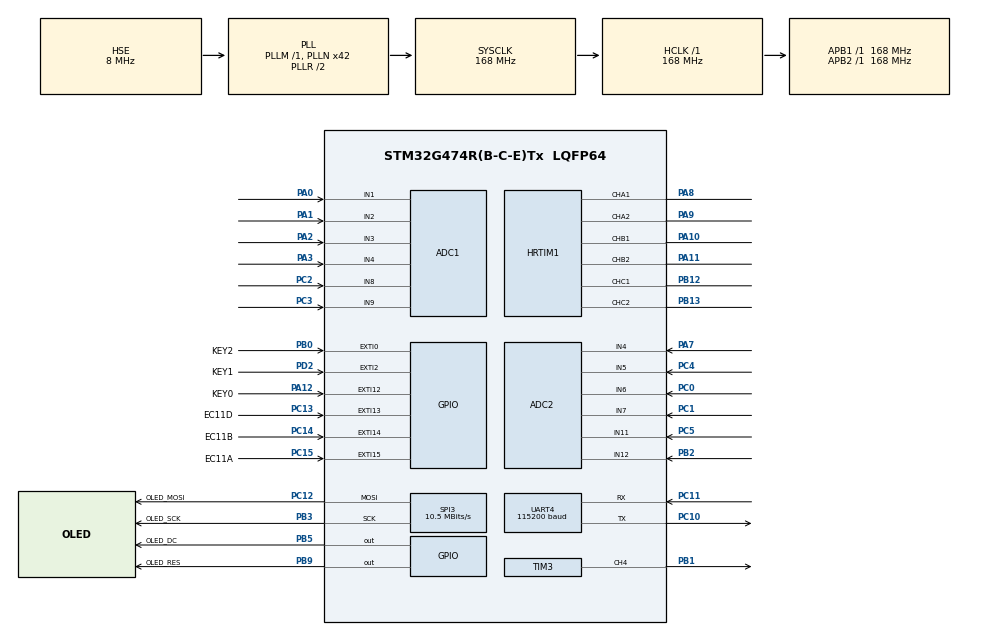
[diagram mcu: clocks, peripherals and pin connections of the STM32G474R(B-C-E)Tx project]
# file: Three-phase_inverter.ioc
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ADC1.Channel-0\#ChannelRegularConversion=ADC_CHANNEL_1
ADC1.Channel-1\#ChannelRegularConversion=ADC_CHANNEL_3
ADC1.Channel-2\#ChannelRegularConversion=ADC_CHANNEL_8
ADC1.ContinuousConvMode=ENABLE
ADC1.DMAContinuousRequests=ENABLE
ADC1.NbrOfConversion=3
ADC1.NbrOfConversionFlag=1
ADC1.OffsetNumber-0\#ChannelRegularConversion=ADC_OFFSET_NONE
ADC1.OffsetNumber-1\#ChannelRegularConversion=ADC_OFFSET_NONE
ADC1.OffsetNumber-2\#ChannelRegularConversion=ADC_OFFSET_NONE
ADC1.Rank-0\#ChannelRegularConversion=1
ADC1.Rank-1\#ChannelRegularConversion=2
ADC1.Rank-2\#ChannelRegularConversion=3
ADC1.SamplingTime-0\#ChannelRegularConversion=ADC_SAMPLETIME_640CYCLES_5
ADC1.SamplingTime-1\#ChannelRegularConversion=ADC_SAMPLETIME_640CYCLES_5
ADC1.SamplingTime-2\#ChannelRegularConversion=ADC_SAMPLETIME_640CYCLES_5
ADC1.SingleDiff-0\#ChannelRegularConversion=ADC_DIFFERENTIAL_ENDED
ADC1.SingleDiff-1\#ChannelRegularConversion=ADC_DIFFERENTIAL_ENDED
ADC1.SingleDiff-2\#ChannelRegularConversion=ADC_DIFFERENTIAL_ENDED
ADC1.master=1
ADC2.Channel-0\#ChannelRegularConversion=ADC_CHANNEL_4
ADC2.Channel-1\#ChannelRegularConversion=ADC_CHANNEL_6
ADC2.Channel-2\#ChannelRegularConversion=ADC_CHANNEL_11
ADC2.ContinuousConvMode=ENABLE
ADC2.DMAContinuousRequests=ENABLE
ADC2.NbrOfConversion=3
ADC2.NbrOfConversionFlag=1
ADC2.OffsetNumber-0\#ChannelRegularConversion=ADC_OFFSET_NONE
ADC2.OffsetNumber-1\#ChannelRegularConversion=ADC_OFFSET_NONE
ADC2.OffsetNumber-2\#ChannelRegularConversion=ADC_OFFSET_NONE
ADC2.Rank-0\#ChannelRegularConversion=1
ADC2.Rank-1\#ChannelRegularConversion=2
ADC2.Rank-2\#ChannelRegularConversion=3
ADC2.SamplingTime-0\#ChannelRegularConversion=ADC_SAMPLETIME_640CYCLES_5
ADC2.SamplingTime-1\#ChannelRegularConversion=ADC_SAMPLETIME_640CYCLES_5
ADC2.SamplingTime-2\#ChannelRegularConversion=ADC_SAMPLETIME_640CYCLES_5
ADC2.SingleDiff-0\#ChannelRegularConversion=ADC_DIFFERENTIAL_ENDED
ADC2.SingleDiff-1\#ChannelRegularConversion=ADC_DIFFERENTIAL_ENDED
ADC2.SingleDiff-2\#ChannelRegularConversion=ADC_DIFFERENTIAL_ENDED
Dma.ADC1.2.Direction=DMA_PERIPH_TO_MEMORY
Dma.ADC1.2.EventEnable=DISABLE
Dma.ADC1.2.Instance=DMA1_Channel3
Dma.ADC1.2.MemDataAlignment=DMA_MDATAALIGN_HALFWORD
Dma.ADC1.2.MemInc=DMA_MINC_ENABLE
Dma.ADC1.2.Mode=DMA_CIRCULAR
Dma.ADC1.2.PeriphDataAlignment=DMA_PDATAALIGN_HALFWORD
Dma.ADC1.2.PeriphInc=DMA_PINC_DISABLE
Dma.ADC1.2.Polarity=HAL_DMAMUX_REQ_GEN_RISING
Dma.ADC1.2.Priority=DMA_PRIORITY_LOW
Dma.ADC1.2.RequestNumber=1
Dma.ADC1.2.SignalID=NONE
Dma.ADC1.2.SyncEnable=DISABLE
Dma.ADC1.2.SyncPolarity=HAL_DMAMUX_SYNC_NO_EVENT
Dma.ADC1.2.SyncRequestNumber=1
Dma.ADC1.2.SyncSignalID=NONE
Dma.ADC2.3.Direction=DMA_PERIPH_TO_MEMORY
Dma.ADC2.3.EventEnable=DISABLE
Dma.ADC2.3.Instance=DMA1_Channel4
Dma.ADC2.3.MemDataAlignment=DMA_MDATAALIGN_HALFWORD
Dma.ADC2.3.MemInc=DMA_MINC_ENABLE
Dma.ADC2.3.Mode=DMA_CIRCULAR
Dma.ADC2.3.PeriphDataAlignment=DMA_PDATAALIGN_HALFWORD
Dma.ADC2.3.PeriphInc=DMA_PINC_DISABLE
Dma.ADC2.3.Polarity=HAL_DMAMUX_REQ_GEN_RISING
Dma.ADC2.3.Priority=DMA_PRIORITY_LOW
Dma.ADC2.3.RequestNumber=1
Dma.ADC2.3.SignalID=NONE
Dma.ADC2.3.SyncEnable=DISABLE
Dma.ADC2.3.SyncPolarity=HAL_DMAMUX_SYNC_NO_EVENT
Dma.ADC2.3.SyncRequestNumber=1
Dma.ADC2.3.SyncSignalID=NONE
Dma.Request0=UART4_TX
Dma.Request1=SPI3_TX
Dma.Request2=ADC1
Dma.Request3=ADC2
Dma.SPI3_TX.1.Direction=DMA_MEMORY_TO_PERIPH
Dma.SPI3_TX.1.EventEnable=DISABLE
Dma.SPI3_TX.1.Instance=DMA1_Channel2
Dma.SPI3_TX.1.MemDataAlignment=DMA_MDATAALIGN_BYTE
Dma.SPI3_TX.1.MemInc=DMA_MINC_ENABLE
Dma.SPI3_TX.1.Mode=DMA_NORMAL
Dma.SPI3_TX.1.PeriphDataAlignment=DMA_PDATAALIGN_BYTE
Dma.SPI3_TX.1.PeriphInc=DMA_PINC_DISABLE
Dma.SPI3_TX.1.Polarity=HAL_DMAMUX_REQ_GEN_RISING
Dma.SPI3_TX.1.Priority=DMA_PRIORITY_LOW
Dma.SPI3_TX.1.RequestNumber=1
Dma.SPI3_TX.1.SignalID=NONE
Dma.SPI3_TX.1.SyncEnable=DISABLE
Dma.SPI3_TX.1.SyncPolarity=HAL_DMAMUX_SYNC_NO_EVENT
Dma.SPI3_TX.1.SyncRequestNumber=1
Dma.SPI3_TX.1.SyncSignalID=NONE
Dma.UART4_TX.0.Direction=DMA_MEMORY_TO_PERIPH
Dma.UART4_TX.0.EventEnable=DISABLE
Dma.UART4_TX.0.Instance=DMA1_Channel1
Dma.UART4_TX.0.MemDataAlignment=DMA_MDATAALIGN_BYTE
Dma.UART4_TX.0.MemInc=DMA_MINC_ENABLE
Dma.UART4_TX.0.Mode=DMA_NORMAL
Dma.UART4_TX.0.PeriphDataAlignment=DMA_PDATAALIGN_BYTE
Dma.UART4_TX.0.PeriphInc=DMA_PINC_DISABLE
Dma.UART4_TX.0.Polarity=HAL_DMAMUX_REQ_GEN_RISING
Dma.UART4_TX.0.Priority=DMA_PRIORITY_LOW
Dma.UART4_TX.0.RequestNumber=1
Dma.UART4_TX.0.SignalID=NONE
Dma.UART4_TX.0.SyncEnable=DISABLE
Dma.UART4_TX.0.SyncPolarity=HAL_DMAMUX_SYNC_NO_EVENT
Dma.UART4_TX.0.SyncRequestNumber=1
Dma.UART4_TX.0.SyncSignalID=NONE
HRTIM1.CompareUnit1-Output_TA1TA2=HRTIM_COMPAREUNIT_1
HRTIM1.CompareUnit1-Output_TB1TB2=HRTIM_COMPAREUNIT_1
HRTIM1.CompareUnit1-Output_TC1TC2=HRTIM_COMPAREUNIT_1
HRTIM1.CompareValue1-Output_TA1TA2=0
HRTIM1.CompareValue1-Output_TB1TB2=0
HRTIM1.CompareValue1-Output_TC1TC2=0
HRTIM1.DeadTimeInsertion-Output_TA1TA2=HRTIM_TIMDEADTIMEINSERTION_ENABLED
HRTIM1.DeadTimeInsertion-Output_TB1TB2=HRTIM_TIMDEADTIMEINSERTION_ENABLED
HRTIM1.DeadTimeInsertion-Output_TC1TC2=HRTIM_TIMDEADTIMEINSERTION_ENABLED
HRTIM1.EnableCalibration=NoDLLCalibration
HRTIM1.FallingLock-Output_TA1TA2=HRTIM_TIMDEADTIME_FALLINGLOCK_READONLY
HRTIM1.FallingLock-Output_TB1TB2=HRTIM_TIMDEADTIME_FALLINGLOCK_READONLY
HRTIM1.FallingLock-Output_TC1TC2=HRTIM_TIMDEADTIME_FALLINGLOCK_READONLY
HRTIM1.FallingSignLock-Output_TA1TA2=HRTIM_TIMDEADTIME_FALLINGSIGNLOCK_READONLY
HRTIM1.FallingSignLock-Output_TB1TB2=HRTIM_TIMDEADTIME_FALLINGSIGNLOCK_READONLY
HRTIM1.FallingSignLock-Output_TC1TC2=HRTIM_TIMDEADTIME_FALLINGSIGNLOCK_READONLY
HRTIM1.FallingValue-Output_TA1TA2=511
HRTIM1.FallingValue-Output_TB1TB2=511
HRTIM1.FallingValue-Output_TC1TC2=511
HRTIM1.GreaterCMP1_TA=HRTIM_TIMERGTCMP1_GREATER
HRTIM1.GreaterCMP1_TB=HRTIM_TIMERGTCMP1_GREATER
HRTIM1.GreaterCMP1_TC=HRTIM_TIMERGTCMP1_GREATER
HRTIM1.NumberResetSource1-Output_TA1TA2=1
HRTIM1.NumberResetSource1-Output_TB1TB2=1
HRTIM1.NumberResetSource1-Output_TC1TC2=1
HRTIM1.NumberSetSource1-Output_TA1TA2=1
HRTIM1.NumberSetSource1-Output_TB1TB2=1
HRTIM1.NumberSetSource1-Output_TC1TC2=1
HRTIM1.Periode_TA=1000
HRTIM1.Periode_TB=1000
HRTIM1.Periode_TC=1000
HRTIM1.PreloadEnable-Output_TA1TA2=HRTIM_PRELOAD_ENABLED
HRTIM1.PreloadEnable-Output_TB1TB2=HRTIM_PRELOAD_ENABLED
HRTIM1.PreloadEnable-Output_TC1TC2=HRTIM_PRELOAD_ENABLED
HRTIM1.PrescalerRatio_TA=HRTIM_PRESCALERRATIO_DIV1
HRTIM1.PrescalerRatio_TB=HRTIM_PRESCALERRATIO_DIV1
HRTIM1.PrescalerRatio_TC=HRTIM_PRESCALERRATIO_DIV1
HRTIM1.RepetitionUpdate-Output_TA1TA2=HRTIM_UPDATEONREPETITION_ENABLED
HRTIM1.RepetitionUpdate-Output_TB1TB2=HRTIM_UPDATEONREPETITION_ENABLED
HRTIM1.RepetitionUpdate-Output_TC1TC2=HRTIM_UPDATEONREPETITION_ENABLED
HRTIM1.ResetOutput1_Source1-Output_TA1TA2=HRTIM_OUTPUTRESET_NONE
HRTIM1.ResetOutput1_Source1-Output_TB1TB2=HRTIM_OUTPUTRESET_NONE
HRTIM1.ResetOutput1_Source1-Output_TC1TC2=HRTIM_OUTPUTRESET_NONE
HRTIM1.RisingLock-Output_TA1TA2=HRTIM_TIMDEADTIME_RISINGLOCK_READONLY
HRTIM1.RisingLock-Output_TB1TB2=HRTIM_TIMDEADTIME_RISINGLOCK_READONLY
HRTIM1.RisingLock-Output_TC1TC2=HRTIM_TIMDEADTIME_RISINGLOCK_READONLY
HRTIM1.RisingSignLock-Output_TA1TA2=HRTIM_TIMDEADTIME_RISINGSIGNLOCK_READONLY
HRTIM1.RisingSignLock-Output_TB1TB2=HRTIM_TIMDEADTIME_RISINGSIGNLOCK_READONLY
HRTIM1.RisingSignLock-Output_TC1TC2=HRTIM_TIMDEADTIME_RISINGSIGNLOCK_READONLY
HRTIM1.RisingValue-Output_TA1TA2=511
HRTIM1.RisingValue-Output_TB1TB2=511
HRTIM1.RisingValue-Output_TC1TC2=511
HRTIM1.SetOutput1_Source1-Output_TA1TA2=HRTIM_OUTPUTSET_TIMCMP1
HRTIM1.SetOutput1_Source1-Output_TB1TB2=HRTIM_OUTPUTSET_TIMCMP1
HRTIM1.SetOutput1_Source1-Output_TC1TC2=HRTIM_OUTPUTSET_TIMCMP1
HRTIM1.UpDownMode-Output_TA1TA2=HRTIM_TIMERUPDOWNMODE_UPDOWN
HRTIM1.UpDownMode-Output_TB1TB2=HRTIM_TIMERUPDOWNMODE_UPDOWN
HRTIM1.UpDownMode-Output_TC1TC2=HRTIM_TIMERUPDOWNMODE_UPDOWN
HRTIM1.rom_TA=HRTIM_TIM_ROM_VALLEY
HRTIM1.rom_TB=HRTIM_TIM_ROM_VALLEY
HRTIM1.rom_TC=HRTIM_TIM_ROM_VALLEY
Mcu.Family=STM32G4
Mcu.Name=STM32G474R(B-C-E)Tx
Mcu.Package=LQFP64
NVIC.ADC1_2_IRQn=true\:2\:0\:true\:false\:true\:true\:true\:true
NVIC.DMA1_Channel1_IRQn=true\:0\:0\:false\:false\:true\:false\:true\:true
NVIC.DMA1_Channel2_IRQn=true\:0\:0\:false\:false\:true\:false\:true\:true
NVIC.DMA1_Channel3_IRQn=true\:0\:0\:false\:false\:true\:false\:true\:true
NVIC.DMA1_Channel4_IRQn=true\:0\:0\:false\:false\:true\:false\:true\:true
NVIC.EXTI0_IRQn=true\:0\:0\:false\:false\:true\:true\:true\:true
NVIC.EXTI15_10_IRQn=true\:0\:0\:true\:false\:true\:true\:true\:true
NVIC.EXTI2_IRQn=true\:0\:0\:false\:false\:true\:true\:true\:true
NVIC.HRTIM1_TIMA_IRQn=true\:0\:0\:false\:false\:true\:true\:true\:true
NVIC.PriorityGroup=NVIC_PRIORITYGROUP_4
NVIC.SPI3_IRQn=true\:3\:0\:true\:false\:true\:true\:true\:true
NVIC.UART4_IRQn=true\:0\:0\:true\:false\:true\:true\:true\:true
PA0.Mode=IN1-Differential
PA0.Signal=ADC1_IN1
PA1.Mode=IN1-Differential
PA1.Signal=ADC1_IN2
PA10.Mode=Output_TB1TB2
PA10.Signal=HRTIM1_CHB1
PA11.Mode=Output_TB1TB2
PA11.Signal=HRTIM1_CHB2
PA12.GPIO_Label=KEY0
PA12.GPIO_ModeDefaultEXTI=GPIO_MODE_IT_FALLING
PA12.GPIO_PuPd=GPIO_PULLUP
PA12.Signal=GPXTI12
PA13.Mode=Serial_Wire
PA13.Signal=SYS_JTMS-SWDIO
PA14.Mode=Serial_Wire
PA14.Signal=SYS_JTCK-SWCLK
PA2.Mode=IN3-Differential
PA2.Signal=ADC1_IN3
PA3.Mode=IN3-Differential
PA3.Signal=ADC1_IN4
PA5.Signal=ADC2_IN13
PA7.Mode=IN4-Differential
PA7.Signal=ADC2_IN4
PA8.Mode=Output_TA1TA2
PA8.Signal=HRTIM1_CHA1
PA9.Mode=Output_TA1TA2
PA9.Signal=HRTIM1_CHA2
PB0.GPIO_Label=KEY2
PB0.GPIO_ModeDefaultEXTI=GPIO_MODE_IT_FALLING
PB0.GPIO_PuPd=GPIO_PULLUP
PB0.Signal=GPXTI0
PB1.Signal=S_TIM3_CH4
PB11.Signal=ADC2_IN14
PB12.Mode=Output_TC1TC2
PB12.Signal=HRTIM1_CHC1
PB13.Mode=Output_TC1TC2
PB13.Signal=HRTIM1_CHC2
PB2.Mode=IN11-Differential
PB2.Signal=ADC2_IN12
PB3.GPIO_Label=OLED_SCK
PB3.Mode=TX_Only_Simplex_Unidirect_Master
PB3.Signal=SPI3_SCK
PB5.GPIO_Label=OLED_DC
PB5.GPIO_Speed=GPIO_SPEED_FREQ_MEDIUM
PB5.Signal=GPIO_Output
PB9.GPIO_Label=OLED_RES
PB9.GPIO_Speed=GPIO_SPEED_FREQ_MEDIUM
PB9.Signal=GPIO_Output
PC0.Mode=IN6-Differential
PC0.Signal=ADC2_IN6
PC1.Mode=IN6-Differential
PC1.Signal=ADC2_IN7
PC10.Mode=Asynchronous
PC10.Signal=UART4_TX
PC11.Mode=Asynchronous
PC11.Signal=UART4_RX
PC12.GPIO_Label=OLED_MOSI
PC12.Mode=TX_Only_Simplex_Unidirect_Master
PC12.Signal=SPI3_MOSI
PC13.GPIO_Label=EC11D
PC13.GPIO_ModeDefaultEXTI=GPIO_MODE_IT_FALLING
PC13.GPIO_PuPd=GPIO_PULLUP
PC13.Signal=GPXTI13
PC14-OSC32_IN.GPIO_Label=EC11B
PC14-OSC32_IN.GPIO_ModeDefaultEXTI=GPIO_MODE_IT_FALLING
PC14-OSC32_IN.GPIO_PuPd=GPIO_PULLUP
PC14-OSC32_IN.Signal=GPXTI14
PC15-OSC32_OUT.GPIO_Label=EC11A
PC15-OSC32_OUT.GPIO_ModeDefaultEXTI=GPIO_MODE_IT_FALLING
PC15-OSC32_OUT.GPIO_PuPd=GPIO_PULLUP
PC15-OSC32_OUT.Signal=GPXTI15
PC2.Mode=IN8-Differential
PC2.Signal=ADC1_IN8
PC3.Mode=IN8-Differential
PC3.Signal=ADC1_IN9
PC4.Mode=IN4-Differential
PC4.Signal=ADC2_IN5
PC5.Mode=IN11-Differential
PC5.Signal=ADC2_IN11
PD2.GPIO_Label=KEY1
PD2.GPIO_ModeDefaultEXTI=GPIO_MODE_IT_FALLING
PD2.GPIO_PuPd=GPIO_PULLUP
PD2.Signal=GPXTI2
PF0-OSC_IN.Mode=HSE-External-Oscillator
PF0-OSC_IN.Signal=RCC_OSC_IN
PF1-OSC_OUT.Mode=HSE-External-Oscillator
PF1-OSC_OUT.Signal=RCC_OSC_OUT
ProjectManager.HeapSize=0x200
ProjectManager.StackSize=0x400
ProjectManager.TargetToolchain=CMake
RCC.ADC12Freq_Value=168000000
RCC.ADC345Freq_Value=168000000
RCC.AHBFreq_Value=168000000
RCC.APB1Freq_Value=168000000
RCC.APB1TimFreq_Value=168000000
RCC.APB2Freq_Value=168000000
RCC.APB2TimFreq_Value=168000000
RCC.CortexFreq_Value=168000000
RCC.EXTERNAL_CLOCK_VALUE=12288000
RCC.HCLKFreq_Value=168000000
RCC.HSE_VALUE=8000000
RCC.HSI48_VALUE=48000000
RCC.HSI_VALUE=16000000
RCC.LSE_VALUE=32768
RCC.PLLN=42
RCC.PLLSourceVirtual=RCC_PLLSOURCE_HSE
RCC.SYSCLKFreq_VALUE=168000000
RCC.SYSCLKSource=RCC_SYSCLKSOURCE_PLLCLK
RCC.USBFreq_Value=168000000
RCC.VCOOutputFreq_Value=336000000
SH.S_TIM3_CH4.0=TIM3_CH4,PWM Generation4 CH4
SPI3.BaudRatePrescaler=SPI_BAUDRATEPRESCALER_16
SPI3.CalculateBaudRate=10.5 MBits/s
SPI3.DataSize=SPI_DATASIZE_8BIT
SPI3.Direction=SPI_DIRECTION_2LINES
SPI3.Mode=SPI_MODE_MASTER
SPI3.NSSPMode=SPI_NSS_PULSE_DISABLE
SPI3.VirtualType=VM_MASTER
STMicroelectronics.X-CUBE-ALGOBUILD.1.5.0.LibraryCcDSPOoLibraryJjDSPOoLibrary=true
TIM3.AutoReloadPreload=TIM_AUTORELOAD_PRELOAD_ENABLE
TIM3.Channel-PWM\ Generation4\ CH4=TIM_CHANNEL_4
TIM3.PeriodNoDither=50000
TIM3.Prescaler=1
TIM3.PulseNoDither_4=2500
UART4.BaudRate=115200
VP_STMicroelectronics.X-CUBE-ALGOBUILD_VS_DSPOoLibraryJjLibrary_1.5.0_1.5.0.Mode=DSPOoLibraryJjLibrary
VP_SYS_VS_DBSignals.Mode=DisableDeadBatterySignals
VP_TIM3_VS_ClockSourceINT.Mode=Internal
VREF+.Mode=InternalMode
VREF+.Signal=VREFBUF_OUT
board=custom

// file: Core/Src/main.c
/* USER CODE BEGIN Header */
/**
  ******************************************************************************
  * @file           : main.c
  * @brief          : Main program body
  ******************************************************************************
  * @attention
  *
  * Copyright (c) 2026 STMicroelectronics.
  * All rights reserved.
  *
  * This software is licensed under terms that can be found in the LICENSE file
  * in the root directory of this software component.
  * If no LICENSE file comes with this software, it is provided AS-IS.
  *
  ******************************************************************************
  */
/* USER CODE END Header */
#include "main.h"
#include "adc.h"
#include "dma.h"
#include "hrtim.h"
#include "spi.h"
#include "tim.h"
#include "usart.h"
#include "gpio.h"

/* USER CODE BEGIN Includes */
#include "OLED.h"
#include "My_OLED.h"
#include "arm_math.h"
/* USER CODE END Includes */

/* USER CODE BEGIN PV */

const float calc_phy_conv_voltage_0001=0.300f;
const float calc_phy_conv_current_0001=0.01015f;
const float calc_phy_conv_voltage_offset_0001=613.5f;
const float calc_phy_conv_current_offset_0001=20.75675f;
const float calc_phy_conv_voltage_0002=0.3035f;
const float calc_phy_conv_current_0002=0.0101f;
const float calc_phy_conv_voltage_offset_0002=620.6575f;
const float calc_phy_conv_current_offset_0002=20.6545f;
const float calc_phy_conv_voltage_0003=0.290f;
const float calc_phy_conv_current_0003=0.01020f;
const float calc_phy_conv_voltage_offset_0003=593.05f;
const float calc_phy_conv_current_offset_0003=20.859f;
const float calc_phy_conv_voltage_0004=0.297f;
const float calc_phy_conv_current_0004=0.01010f;
const float calc_phy_conv_voltage_offset_0004=607.365f;
const float calc_phy_conv_current_offset_0004=20.6545f;
const float calc_phy_conv_voltage_0005=0.3035f;
const float calc_phy_conv_current_0005=0.0100f;
const float calc_phy_conv_voltage_offset_0005=620.6575f;
const float calc_phy_conv_current_offset_0005=20.45f;

const float phy_calc_conv_offset=2045;

float hzc=5.0f;
float frequency=60.0f;
float num=200;
float fhrtim=160000000;
float div=7;

enum EC_DeBug now_EC_DeBug=vm_;

SV S={0};
QPR QPR1={0},QPR2={0};
SVPWM SVPWM1={0};

uint16_t ADC1_value[3],ADC2_value[3];

float va_setpoint,vb_setpoint;
float va_measurement,vb_measurement,vc_measurement;
float vdc_measurement;
float a,b,c,d,f;//中间值
float va_setpoint_data[200];
float vb_setpoint_data[200];
float den;

uint8_t TX_buffer[50];

// 根据你的需求定义最大可发送浮点数个数
#define VOFA_TX_MAX_FLOATS     (64u)

// JustFloat 协议的帧尾，固定为 0x7F800000 (表示 +Inf)[reference:8]
static const uint32_t vofa_tail = 0x7F800000u;

// 发送缓冲区：数据区 + 帧尾
static uint8_t vofa_tx_buf[VOFA_TX_MAX_FLOATS * 4 + 4];

/* USER CODE END PV */

void SystemClock_Config(void);

int main(void)
{

  /* MCU Configuration--------------------------------------------------------*/

  /* Reset of all peripherals, Initializes the Flash interface and the Systick. */
  HAL_Init();

  /* Configure the system clock */
  SystemClock_Config();

  /* Initialize all configured peripherals */
  MX_GPIO_Init();
  MX_DMA_Init();
  MX_UART4_Init();
  MX_SPI3_Init();
  MX_ADC1_Init();
  MX_ADC2_Init();
  MX_HRTIM1_Init();
  MX_TIM3_Init();
  /* USER CODE BEGIN 2 */
  HAL_TIM_Base_Start(&htim3);
  HAL_TIM_PWM_Start(&htim3,TIM_CHANNEL_4);

  OLED_Init();

  SV_init(&S,26.12789f,frequency,num);
  QPR_Init(&QPR1,2*PI*hzc,frequency,num);
  QPR_Init(&QPR2,2*PI*hzc,frequency,num);
  QPR1.kp=0.3f,QPR1.kr=20.0f;
  QPR2.kp=0.3f,QPR2.kr=20.0f;
  SVPWM_init(&SVPWM1,60.0f,frequency,num,div,fhrtim);

  HAL_ADCEx_Calibration_Start(&hadc1,ADC_DIFFERENTIAL_ENDED);
  HAL_ADC_Start_DMA(&hadc1,(uint32_t*)ADC1_value,sizeof(ADC1_value)/sizeof(uint16_t));
  HAL_ADCEx_Calibration_Start(&hadc2,ADC_DIFFERENTIAL_ENDED);
  HAL_ADC_Start_DMA(&hadc2,(uint32_t*)ADC2_value,sizeof(ADC2_value)/sizeof(uint16_t));

  three_phase_inverter_interface_head();

  HAL_HRTIM_WaveformCountStart(&hhrtim1, HRTIM_TIMERID_TIMER_A);
  HAL_HRTIM_WaveformCountStart(&hhrtim1, HRTIM_TIMERID_TIMER_B);
  HAL_HRTIM_WaveformCountStart(&hhrtim1, HRTIM_TIMERID_TIMER_C);

  HAL_HRTIM_WaveformOutputStart(&hhrtim1, HRTIM_OUTPUT_TA1|HRTIM_OUTPUT_TA2);//开启通道输出
  HAL_HRTIM_WaveformOutputStart(&hhrtim1, HRTIM_OUTPUT_TB1|HRTIM_OUTPUT_TB2);//开启通道输出
  HAL_HRTIM_WaveformOutputStart(&hhrtim1, HRTIM_OUTPUT_TC1|HRTIM_OUTPUT_TC2);//开启通道输出

  get_va_setpoint_data(va_setpoint_data,num);
  get_vb_setpoint_data(vb_setpoint_data,num);

  __HAL_HRTIM_TIMER_ENABLE_IT(&hhrtim1,HRTIM_TIMERINDEX_TIMER_A,HRTIM_TIM_IT_UPD);//开启更新中断,开启QPR

  DeBug_interface_head();

  HAL_TIM_PWM_Stop(&htim3,TIM_CHANNEL_4);
  HAL_TIM_Base_Stop(&htim3);
  /* USER CODE END 2 */

  /* Infinite loop */
  /* USER CODE BEGIN WHILE */
  while (1)
  {
    vc_measurement=ADC1_value[1]*calc_phy_conv_voltage_0003-calc_phy_conv_voltage_offset_0003;
    vdc_measurement=ADC2_value[1]*calc_phy_conv_voltage_0004-calc_phy_conv_voltage_offset_0004;

    three_phase_inverter_interface_main();
    DeBug_interface_main();

   // VOFA_SendFloatDMA(&huart4,(float[]){va_setpoint,vb_setpoint},2);
    /* USER CODE END WHILE */

  }
}

void SystemClock_Config(void)
{
  RCC_OscInitTypeDef RCC_OscInitStruct = {0};
  RCC_ClkInitTypeDef RCC_ClkInitStruct = {0};

  /** Configure the main internal regulator output voltage
  */
  HAL_PWREx_ControlVoltageScaling(PWR_REGULATOR_VOLTAGE_SCALE1_BOOST);

  /** Initializes the RCC Oscillators according to the specified parameters
  * in the RCC_OscInitTypeDef structure.
  */
  RCC_OscInitStruct.OscillatorType = RCC_OSCILLATORTYPE_HSE;
  RCC_OscInitStruct.HSEState = RCC_HSE_ON;
  RCC_OscInitStruct.PLL.PLLState = RCC_PLL_ON;
  RCC_OscInitStruct.PLL.PLLSource = RCC_PLLSOURCE_HSE;
  RCC_OscInitStruct.PLL.PLLM = RCC_PLLM_DIV1;
  RCC_OscInitStruct.PLL.PLLN = 42;
  RCC_OscInitStruct.PLL.PLLP = RCC_PLLP_DIV2;
  RCC_OscInitStruct.PLL.PLLQ = RCC_PLLQ_DIV2;
  RCC_OscInitStruct.PLL.PLLR = RCC_PLLR_DIV2;
  if (HAL_RCC_OscConfig(&RCC_OscInitStruct) != HAL_OK)
  {
    Error_Handler();
  }

  /** Initializes the CPU, AHB and APB buses clocks
  */
  RCC_ClkInitStruct.ClockType = RCC_CLOCKTYPE_HCLK|RCC_CLOCKTYPE_SYSCLK
                              |RCC_CLOCKTYPE_PCLK1|RCC_CLOCKTYPE_PCLK2;
  RCC_ClkInitStruct.SYSCLKSource = RCC_SYSCLKSOURCE_PLLCLK;
  RCC_ClkInitStruct.AHBCLKDivider = RCC_SYSCLK_DIV1;
  RCC_ClkInitStruct.APB1CLKDivider = RCC_HCLK_DIV1;
  RCC_ClkInitStruct.APB2CLKDivider = RCC_HCLK_DIV1;

  if (HAL_RCC_ClockConfig(&RCC_ClkInitStruct, FLASH_LATENCY_4) != HAL_OK)
  {
    Error_Handler();
  }
}

/* USER CODE BEGIN 4 */
inline void QPR_Init(QPR *QPR,float wc,float frequency,float num) {
  QPR->wc=wc;
  QPR->t_control=1.0f/frequency/num;
  QPR->w0=2.0*PI*frequency;
  QPR->k=2.0f/QPR->t_control;

   // QPR->w0 = QPR->k * tanf(QPR->w0 * QPR->t / 2.0f);   // 用畸变后的值参与系数计算
   // QPR->wc = QPR->k * tanf(QPR->wc * QPR->t / 2.0f);

  float A0=QPR->k*QPR->k+2.0f*QPR->wc*QPR->k+QPR->w0*QPR->w0;
  QPR->a1=2.0f*(QPR->w0*QPR->w0-QPR->k*QPR->k)/A0;
  QPR->a2=(QPR->k*QPR->k-2.0f*QPR->wc*QPR->k+QPR->w0*QPR->w0)/A0;
  QPR->b0=2.0f*QPR->k*QPR->wc/A0;
  QPR->b2=-QPR->b0;

  QPR->e1=0;
  QPR->e2=0;
  QPR->y0=0;
  QPR->y1=0;
  QPR->y2=0;
  QPR->u0=0;
  QPR->u1=0;
  QPR->q0=0;
  QPR->q1=0;
}

float QPR_Compute(QPR *QPR,float e0) {
  QPR->y0=QPR->b0*e0+QPR->b2*QPR->e2-QPR->a1*QPR->y1-QPR->a2*QPR->y2;
  QPR->u0=QPR->kp*e0+QPR->kr*QPR->y0;

  QPR->e2=QPR->e1;
  QPR->e1=e0;
  QPR->y2=QPR->y1;
  QPR->y1=QPR->y0;

  return QPR->u0;
}
void QPR_QSG_Compute(QPR *QPR,float e0) {
  QPR->y0=QPR->b0*(e0-QPR->e2)-QPR->a1*QPR->y1-QPR->a2*QPR->y2;
  QPR->u0=QPR->kp*e0+QPR->kr*QPR->y0;
  QPR->q0=QPR->q1+(QPR->u0+QPR->u1)*0.5f*QPR->w0*QPR->t_control;

  QPR->e2=QPR->e1;
  QPR->e1=e0;
  QPR->y2=QPR->y1;
  QPR->y1=QPR->y0;
  QPR->u1=QPR->u0;
  QPR->q1=QPR->q0;
}
float P_Compute(float p,float e0) {
  return (p*e0);
}

void SV_init(SV *S,float vm,float frequency,float num) {
  S->theta=0;
  S->vm=vm;
  S->t_control=1.0f/frequency/num;
  S->wout=2.0*PI*frequency;
}
int32_t rad_to_q31(float rad) {
  float norm_rad=rad/PI;

  int32_t result=(int32_t)(norm_rad*0x80000000);
  return result;
}
float sin_cos_q31_to_float(int32_t sin_cos_q31_value) {
  return (float)sin_cos_q31_value / 2147483648.0f;
}
// void phy_conv_calc(void) {
//   calc_va_setpoint=va_setpoint*phy_calc_conv_voltage_0001+phy_calc_conv_offset;
//   calc_vb_setpoint=vb_setpoint*phy_calc_conv_voltage_0002+phy_calc_conv_offset;
// }
void calc_conv_phy(void) {
  va_measurement=ADC1_value[0]*calc_phy_conv_voltage_0001-calc_phy_conv_voltage_offset_0001;
  vb_measurement=ADC2_value[0]*calc_phy_conv_voltage_0002-calc_phy_conv_voltage_offset_0002;

}
void SVPWM_init(SVPWM *SVPWM,float vdc,float frequency,float num,float div,float fhrtim) {
  SVPWM->vdc=vdc;
  SVPWM->Ts=1.0f/frequency/num/div;
  SVPWM->arr=fhrtim/2.0f/div/frequency/num;
  SVPWM->mid=SVPWM->Ts/SVPWM->vdc;
}
void Midvalue_Compute(float va_control,float vb_control) {
  a=va_control+2.0f*vb_control;
  b=va_control-vb_control;
  c=2.0f*va_control+vb_control;
  d=-va_control+vb_control;
}
void harmonic_insert(SVPWM *svpwm) {
  float min1,min2,max1,max2,sum;
  a = (svpwm->A_Phase + 1.0f) * 0.5f;
  b = (svpwm->B_Phase + 1.0f) * 0.5f;
  c = (svpwm->C_Phase + 1.0f) * 0.5f;
  max1 =  fmaxf(a,b);
  max2 =  fmaxf(max1,c);
  min1 =  fminf(a,b);
  min2 =  fminf(min1,c);
  sum  = (1.0f - max2 - min2) * 0.5f;
  svpwm->Vta = sum + a;
  svpwm->Vtb = sum + b;
  svpwm->Vtc = sum + c;
}
uint8_t Sector_Judgment(void) {
  uint8_t N=0;
  if (a>0){N+=1;}
  if (b>0){N+=2;}
  if (c<0){N+=4;}

  switch (N) {
    case 3:
      return 1;
    case 1:
      return 2;
    case 5:
      return 3;
    case 4:
      return 4;
    case 6:
      return 5;
    case 2:
      return 6;
  }
}
void vector_actiontime(SVPWM *SVPWM,uint8_t sector) {
  switch (sector) {
    case 1:
      SVPWM->T1=SVPWM->mid*b;
      SVPWM->T2=SVPWM->mid*a;
      break;
    case 2:
      SVPWM->T1=SVPWM->mid*d;
      SVPWM->T2=SVPWM->mid*c;
      break;
    case 3:
      SVPWM->T1=SVPWM->mid*a;
      SVPWM->T2=SVPWM->mid*(-c);
      break;
    case 4:
      SVPWM->T1=SVPWM->mid*(-a);
      SVPWM->T2=SVPWM->mid*d;
      break;
    case 5:
      SVPWM->T1=SVPWM->mid*(-c);
      SVPWM->T2=SVPWM->mid*b;
      break;
    case 6:
      SVPWM->T1=SVPWM->mid*c;
      SVPWM->T2=SVPWM->mid*(-a);
      break;
  }
  if ((SVPWM->T1+SVPWM->T2)>SVPWM->Ts) {
    SVPWM->T1=SVPWM->T1/(SVPWM->T1+SVPWM->T2)*SVPWM->Ts;
    SVPWM->T2=SVPWM->Ts-SVPWM->T1;
  }
  SVPWM->T0=SVPWM->Ts-SVPWM->T1-SVPWM->T2;
}
void frequency_conv(float fhrtim,float frequency,float div,float num) {
  HRTIM1->sTimerxRegs[HRTIM_TIMERINDEX_TIMER_A].PERxR = fhrtim/2.0f/div/frequency/num;
  HRTIM1->sTimerxRegs[HRTIM_TIMERINDEX_TIMER_B].PERxR = fhrtim/2.0f/div/frequency/num;
  HRTIM1->sTimerxRegs[HRTIM_TIMERINDEX_TIMER_C].PERxR = fhrtim/2.0f/div/frequency/num;
}
void vector_action(SVPWM *SVPWM,uint8_t sector) {
  switch (sector) {
    case 1:
      HRTIM1->sTimerxRegs[HRTIM_TIMERINDEX_TIMER_A].CMP1xR=SVPWM->T0*0.25f/SVPWM->Ts*SVPWM->arr;
      HRTIM1->sTimerxRegs[HRTIM_TIMERINDEX_TIMER_B].CMP1xR=HRTIM1->sTimerxRegs[HRTIM_TIMERINDEX_TIMER_A].CMP1xR+SVPWM->T1*0.5f/SVPWM->Ts*SVPWM->arr;
      HRTIM1->sTimerxRegs[HRTIM_TIMERINDEX_TIMER_C].CMP1xR=HRTIM1->sTimerxRegs[HRTIM_TIMERINDEX_TIMER_B].CMP1xR+SVPWM->T2*0.5f/SVPWM->Ts*SVPWM->arr+1;
      break;
    case 2:
      HRTIM1->sTimerxRegs[HRTIM_TIMERINDEX_TIMER_B].CMP1xR=SVPWM->T0*0.25f/SVPWM->Ts*SVPWM->arr;
      HRTIM1->sTimerxRegs[HRTIM_TIMERINDEX_TIMER_A].CMP1xR=HRTIM1->sTimerxRegs[HRTIM_TIMERINDEX_TIMER_B].CMP1xR+SVPWM->T1*0.5f/SVPWM->Ts*SVPWM->arr;
      HRTIM1->sTimerxRegs[HRTIM_TIMERINDEX_TIMER_C].CMP1xR=HRTIM1->sTimerxRegs[HRTIM_TIMERINDEX_TIMER_A].CMP1xR+SVPWM->T2*0.5f/SVPWM->Ts*SVPWM->arr+1;
      break;
    case 3:
      HRTIM1->sTimerxRegs[HRTIM_TIMERINDEX_TIMER_B].CMP1xR=SVPWM->T0*0.25f/SVPWM->Ts*SVPWM->arr;
      HRTIM1->sTimerxRegs[HRTIM_TIMERINDEX_TIMER_C].CMP1xR=HRTIM1->sTimerxRegs[HRTIM_TIMERINDEX_TIMER_B].CMP1xR+SVPWM->T1*0.5f/SVPWM->Ts*SVPWM->arr;
      HRTIM1->sTimerxRegs[HRTIM_TIMERINDEX_TIMER_A].CMP1xR=HRTIM1->sTimerxRegs[HRTIM_TIMERINDEX_TIMER_C].CMP1xR+SVPWM->T2*0.5f/SVPWM->Ts*SVPWM->arr+1;
      break;
    case 4:
      HRTIM1->sTimerxRegs[HRTIM_TIMERINDEX_TIMER_C].CMP1xR=SVPWM->T0*0.25f/SVPWM->Ts*SVPWM->arr;
      HRTIM1->sTimerxRegs[HRTIM_TIMERINDEX_TIMER_B].CMP1xR=HRTIM1->sTimerxRegs[HRTIM_TIMERINDEX_TIMER_C].CMP1xR+SVPWM->T1*0.5f/SVPWM->Ts*SVPWM->arr;
      HRTIM1->sTimerxRegs[HRTIM_TIMERINDEX_TIMER_A].CMP1xR=HRTIM1->sTimerxRegs[HRTIM_TIMERINDEX_TIMER_B].CMP1xR+SVPWM->T2*0.5f/SVPWM->Ts*SVPWM->arr+1;
      break;
    case 5:
      HRTIM1->sTimerxRegs[HRTIM_TIMERINDEX_TIMER_C].CMP1xR=SVPWM->T0*0.25f/SVPWM->Ts*SVPWM->arr;
      HRTIM1->sTimerxRegs[HRTIM_TIMERINDEX_TIMER_A].CMP1xR=HRTIM1->sTimerxRegs[HRTIM_TIMERINDEX_TIMER_C].CMP1xR+SVPWM->T1*0.5f/SVPWM->Ts*SVPWM->arr;
      HRTIM1->sTimerxRegs[HRTIM_TIMERINDEX_TIMER_B].CMP1xR=HRTIM1->sTimerxRegs[HRTIM_TIMERINDEX_TIMER_A].CMP1xR+SVPWM->T2*0.5f/SVPWM->Ts*SVPWM->arr+1;
      break;
    case 6:
      HRTIM1->sTimerxRegs[HRTIM_TIMERINDEX_TIMER_A].CMP1xR=SVPWM->T0*0.25f/SVPWM->Ts*SVPWM->arr;
      HRTIM1->sTimerxRegs[HRTIM_TIMERINDEX_TIMER_C].CMP1xR=HRTIM1->sTimerxRegs[HRTIM_TIMERINDEX_TIMER_A].CMP1xR+SVPWM->T1*0.5f/SVPWM->Ts*SVPWM->arr;
      HRTIM1->sTimerxRegs[HRTIM_TIMERINDEX_TIMER_B].CMP1xR=HRTIM1->sTimerxRegs[HRTIM_TIMERINDEX_TIMER_C].CMP1xR+SVPWM->T2*0.5f/SVPWM->Ts*SVPWM->arr+1;
      break;
  }
}
void VOFA_SendFloatDMA(UART_HandleTypeDef *huart, float *data, uint16_t num)
{
  // 1. 安全检查：如果上一次 DMA 传输还没完成，直接返回，避免冲突
  if (huart->gState != HAL_UART_STATE_READY) {
    return;
  }

  // 2. 防止数据溢出
  if (num > VOFA_TX_MAX_FLOATS) {
    num = VOFA_TX_MAX_FLOATS;
  }

  // 3. 计算数据部分的字节数
  uint16_t bytes_data = num * sizeof(float); // sizeof(float) 通常为 4

  // 4. 将浮点数据拷贝到发送缓冲区
  memcpy(vofa_tx_buf, data, bytes_data);

  // 5. 在数据后面追加 4 字节的帧尾
  memcpy(vofa_tx_buf + bytes_data, &vofa_tail, sizeof(vofa_tail));

  // 6. 启动 DMA 发送：发送 (数据 + 帧尾)
  HAL_UART_Transmit_DMA(huart, vofa_tx_buf, bytes_data + sizeof(vofa_tail));
}

void get_va_setpoint_data(float data[],int num) {
  for (int i=0;i<num;i++) {
    data[i] = S.vm*cos(2*i*PI/num);
  }
}
void get_vb_setpoint_data(float data[],int num) {
  for (int i=0;i<num;i++) {
    data[i] =S.vm*cos(2*i*PI/num-2.0/3.0*PI);
  }
}
void HAL_HRTIM_RegistersUpdateCallback(HRTIM_HandleTypeDef *hhrtim,uint32_t TimerIdx) {
  static uint8_t count = 0;
  static uint8_t count1 = 0;
  if (TimerIdx==HRTIM_TIMERINDEX_TIMER_A) {
    count++;
    if (count>252) {
      count=0;
    }
    if (count%7==0) {
      va_setpoint=va_setpoint_data[count1];
      vb_setpoint=vb_setpoint_data[count1];
      count1++;
      if (count1>=200) {
        count1=0;
      }
      //VOFA_SendFloatDMA(&huart4,(float[]){va_setpoint,vb_setpoint,count},3);

      calc_conv_phy();
      QPR_QSG_Compute(&QPR1,va_setpoint-va_measurement);
      QPR_QSG_Compute(&QPR2,vb_setpoint-vb_measurement);
      SVPWM1.A_Phase = QPR1.u0 / sqrtf(QPR1.u0*QPR1.u0 + QPR1.q0*QPR1.q0);
      SVPWM1.B_Phase = QPR2.u0 / sqrtf(QPR2.u0*QPR2.u0 + QPR2.q0*QPR2.q0);
      SVPWM1.C_Phase=-(SVPWM1.A_Phase+SVPWM1.B_Phase);

      harmonic_insert(&SVPWM1);

      VOFA_SendFloatDMA(&huart4,(float[]){SVPWM1.A_Phase,SVPWM1.B_Phase,SVPWM1.C_Phase},3);

      HRTIM1->sTimerxRegs[HRTIM_TIMERINDEX_TIMER_A].CMP1xR=SVPWM1.Vta*SVPWM1.arr;
      HRTIM1->sTimerxRegs[HRTIM_TIMERINDEX_TIMER_B].CMP1xR=SVPWM1.Vtb*SVPWM1.arr;
      HRTIM1->sTimerxRegs[HRTIM_TIMERINDEX_TIMER_C].CMP1xR=SVPWM1.Vtc*SVPWM1.arr;

      //VOFA_SendFloatDMA(&huart4,(float[]){SVPWM1.Vta,SVPWM1.Vtb,SVPWM1.Vtc},3);
      //VOFA_SendFloatDMA(&huart4,(float[]){count,count1,den},3);

    }
  }
}
void HAL_GPIO_EXTI_Callback(uint16_t GPIO_Pin) {
  if (GPIO_Pin==EC11D_Pin)
  {
    now_EC_DeBug=(now_EC_DeBug+1)%7;
  }
  if (GPIO_Pin==EC11A_Pin)
  {
    if (HAL_GPIO_ReadPin(EC11A_GPIO_Port,EC11A_Pin)==0) {
      if (HAL_GPIO_ReadPin(EC11B_GPIO_Port,EC11B_Pin)==0) {
        switch (now_EC_DeBug) {
          case vm_:
            S.vm+=0.2f;
            get_va_setpoint_data(va_setpoint_data,200);
            get_vb_setpoint_data(vb_setpoint_data,200);
            break;
          case hzc_:
            hzc+=0.5f;
            QPR_Init(&QPR1,2*PI*hzc,frequency,num);
            QPR_Init(&QPR2,2*PI*hzc,frequency,num);
            break;
          case kp1_:
            QPR1.kp+=0.2f;
            break;
          case kp2_:
            QPR2.kp+=0.2f;
            break;
          case kr1_:
            QPR1.kr+=0.5f;
            break;
          case kr2_:
            QPR2.kr+=0.5f;
            break;
          case vdc_:
            SVPWM1.vdc+=0.2f;
            SVPWM_init(&SVPWM1,SVPWM1.vdc,frequency,num,div,fhrtim);
            break;
          default:
            break;
        }
      }
    }
  }
  if (GPIO_Pin==EC11B_Pin) {
    if (HAL_GPIO_ReadPin(EC11B_GPIO_Port,EC11B_Pin)==0) {
      if (HAL_GPIO_ReadPin(EC11A_GPIO_Port,EC11A_Pin)==0) {
        switch (now_EC_DeBug) {
          case vm_:
            S.vm-=0.2f;
            get_va_setpoint_data(va_setpoint_data,200);
            get_vb_setpoint_data(vb_setpoint_data,200);
            break;
          case hzc_:
            hzc-=0.5f;
            QPR_Init(&QPR1,2*PI*hzc,frequency,num);
            QPR_Init(&QPR2,2*PI*hzc,frequency,num);
            break;
          case kp1_:
            QPR1.kp-=0.2f;
            break;
          case kp2_:
            QPR2.kp-=0.2f;
            break;
          case kr1_:
            QPR1.kr-=0.5f;
            break;
          case kr2_:
            QPR2.kr-=0.5f;
            break;
          case vdc_:
            SVPWM1.vdc-=0.2f;
            SVPWM_init(&SVPWM1,SVPWM1.vdc,frequency,num,div,fhrtim);
            break;
          default:
            break;
        }
      }
    }
  }
  if (GPIO_Pin==KEY0_Pin) {
      frequency*=0.5f;
      frequency_conv(fhrtim,frequency,div,num);
      SV_init(&S,26.12789f,frequency,num);
      QPR_Init(&QPR1,2*PI*hzc,frequency,num);
      QPR_Init(&QPR2,2*PI*hzc,frequency,num);
      SVPWM_init(&SVPWM1,60.0f,frequency,num,div,fhrtim);
  }
  if (GPIO_Pin==KEY1_Pin) {

  }
  if (GPIO_Pin==KEY2_Pin) {

  }
}
/* USER CODE END 4 */

void Error_Handler(void)
{
  __disable_irq();
  while (1)
  {
  }
}
